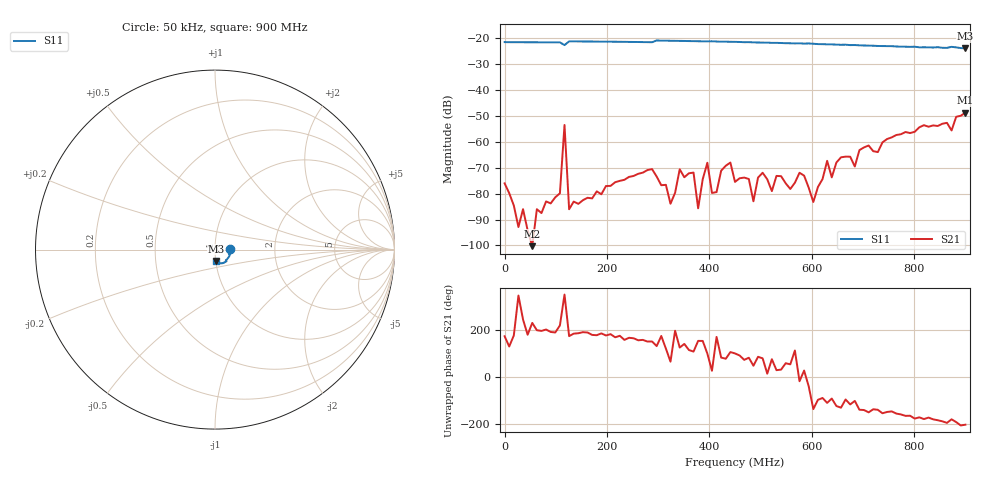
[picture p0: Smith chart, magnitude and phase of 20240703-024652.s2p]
# HZ S RI R 50
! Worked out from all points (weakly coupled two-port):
!   101 points, 50 kHz to 900 MHz, reference 50 ohm
!   highest |S21| = -48.71 dB at 900 MHz (marker M1); lowest = -100.3 dB at 54.05 MHz (marker M2)
!   lowest |S11| = -23.8 dB at 900 MHz (marker M3), VSWR 1.14, Z = 50.2 - j6.46 ohm
!   |S11| at or under -10 dB: start of sweep to end of sweep
!   S12 and S22 are empty: the file has one direction only
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50000  0.085 0.00104  -0.000157 1.49e-05  0 0  0 0
5.4047e7  0.0833 -0.0128  -6.05e-06 -7.53e-06  0 0  0 0
1.08044e8  0.0801 -0.0251  -7.71e-05 -6.58e-05  0 0  0 0
1.170435e8  0.0739 -0.00824  0.0021 -0.000301  0 0  0 0
1.26043e8  0.0825 -0.03  -4.98e-05 4.34e-06  0 0  0 0
1.530415e8  0.0797 -0.0357  -7.32e-05 -1.54e-05  0 0  0 0
2.88034e8  0.06 -0.0595  -0.000264 0.000139  0 0  0 0
3.06033e8  0.0628 -0.0651  -0.000145 1.08e-05  0 0  0 0
3.330315e8  0.0584 -0.0683  -9.87e-05 -3.21e-05  0 0  0 0
3.42031e8  0.0569 -0.0692  -0.000176 0.000237  0 0  0 0
3.690295e8  0.0523 -0.0717  -8.4e-05 0.000241  0 0  0 0
3.78029e8  0.0508 -0.0721  -4.71e-05 2.21e-05  0 0  0 0
3.96028e8  0.0477 -0.0737  -7.42e-05 0.000388  0 0  0 0
4.050275e8  0.0466 -0.0748  9.14e-05 4.81e-05  0 0  0 0
4.410255e8  0.0409 -0.0758  -0.000118 0.000381  0 0  0 0
4.50025e8  0.0394 -0.0763  -3.36e-05 0.000165  0 0  0 0
5.76018e8  0.0243 -0.0766  0.000242 -7.32e-05  0 0  0 0
6.030165e8  0.0218 -0.0759  -4.9e-05 -4.86e-05  0 0  0 0
6.30015e8  0.0192 -0.0745  -0.000139 -0.000408  0 0  0 0
6.390145e8  0.0182 -0.0745  -1.44e-06 -0.000206  0 0  0 0
7.56008e8  0.0115 -0.07  -0.001 -0.000703  0 0  0 0
9e8  0.0063 -0.064  -0.00341 0.00135  0 0  0 0
